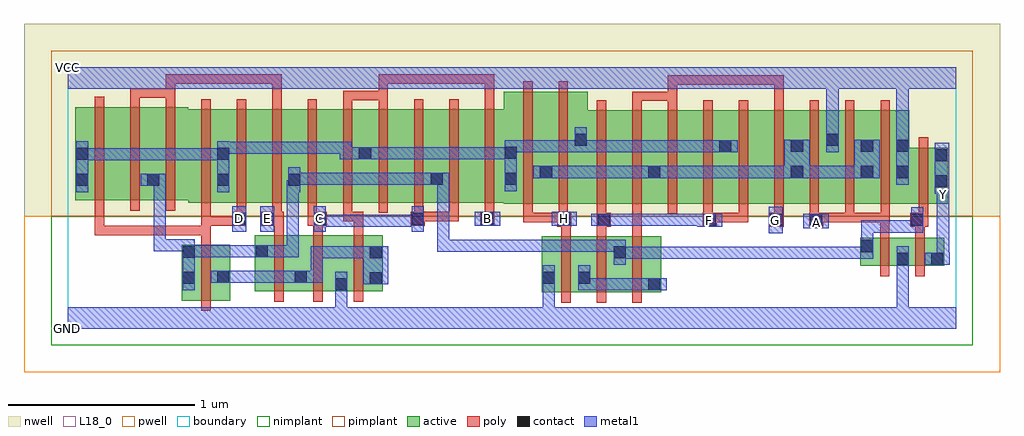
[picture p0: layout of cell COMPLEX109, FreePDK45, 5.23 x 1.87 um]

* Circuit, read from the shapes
.subckt COMPLEX109 A B C D E F G GND H VCC Y
M1 n1 D n2 VSUBS nfet w=0.3u l=0.05u
M2 n1 E n2 VSUBS nfet w=0.3u l=0.05u
M3 GND C n1 VSUBS nfet w=0.3u l=0.05u
M4 n1 B GND VSUBS nfet w=0.3u l=0.05u
M5 n3 H GND VSUBS nfet w=0.3u l=0.05u
M6 n2 F n3 VSUBS nfet w=0.3u l=0.05u
M7 n3 G n2 VSUBS nfet w=0.3u l=0.05u
M8 GND A n2 VSUBS nfet w=0.15u l=0.05u
M9 Y n2 GND VSUBS nfet w=0.15u l=0.05u
M10 n4 D n5 n6 pfet w=0.5u l=0.05u
M11 n2 E n4 n6 pfet w=0.5u l=0.05u
M12 n7 E n2 n6 pfet w=0.5u l=0.05u
M13 n5 D n7 n6 pfet w=0.5u l=0.05u
M14 n8 D n5 n6 pfet w=0.5u l=0.05u
M15 n2 E n8 n6 pfet w=0.5u l=0.05u
M16 n9 C n2 n6 pfet w=0.5u l=0.05u
M17 n5 B n9 n6 pfet w=0.5u l=0.05u
M18 n10 B n5 n6 pfet w=0.5u l=0.05u
M19 n2 C n10 n6 pfet w=0.5u l=0.05u
M20 n11 C n2 n6 pfet w=0.5u l=0.05u
M21 n5 B n11 n6 pfet w=0.5u l=0.05u
M22 n12 H n5 n6 pfet w=0.6u l=0.05u m=2
M23 n13 F n5 n6 pfet w=0.5u l=0.05u
M24 n12 G n13 n6 pfet w=0.5u l=0.05u
M25 n14 G n12 n6 pfet w=0.5u l=0.05u
M26 n5 F n14 n6 pfet w=0.5u l=0.05u
M27 n15 F n5 n6 pfet w=0.5u l=0.05u
M28 n12 G n15 n6 pfet w=0.5u l=0.05u
M29 VCC A n12 n6 pfet w=0.5u l=0.05u m=3
M30 Y n2 VCC n6 pfet w=0.3u l=0.05u
.ends

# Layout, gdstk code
import gdstk
lib = gdstk.Library(unit=1e-6, precision=1e-09)
def R(c, l, rs):  # rectangles x0, y0, x1, y1
    for r in rs: c.add(gdstk.rectangle(r[:2], r[2:], *l))
def A(c, l, x, y, w, h, nx, ny, dx, dy):  # array of equal rectangles
    R(c, l, [(x+i*dx, y+j*dy, x+i*dx+w, y+j*dy+h) for i in range(nx) for j in range(ny)])
active = (1, 0)
pwell = (2, 0)
nwell = (3, 0)
nimplant = (4, 0)
pimplant = (5, 0)
poly = (9, 0)
contact = (10, 0)
metal1 = (11, 0)
L18_0 = (18, 0)
boundary = (235, 0)

complex109 = lib.new_cell('COMPLEX109')
A(complex109, active, 0.645, 0.675, 0.225, 0.5, 3, 1, 0.38, 0)
A(complex109, active, 0.795, 0.675, 0.23, 0.5, 3, 1, 0.38, 0)
R(complex109, active, [(0.61,0.15,0.87,0.45), (2.54,0.195,2.805,0.495), (2.73,0.195,2.995,0.495), (2.92,0.195,3.18,0.495), (0.61,0.2,0.685,0.45), (0.795,0.2,0.87,0.45), (1.002,0.2,1.285,0.5), (1.21,0.2,1.285,0.392), (1.21,0.2,1.502,0.5), (1.427,0.2,1.687,0.5), (1.427,0.2,1.502,0.392), (1.612,0.2,1.687,0.5), (2.73,0.2,2.805,0.392), (3.105,0.2,3.18,0.495), (2.54,0.232,2.615,0.495), (1.002,0.247,1.077,0.5), (2.92,0.247,2.995,0.447), (4.247,0.337,4.512,0.487), (4.437,0.337,4.697,0.487), (4.437,0.337,4.512,0.412), (4.622,0.337,4.697,0.487), (4.247,0.397,4.322,0.487), (2.335,0.67,2.6,1.27), (2.525,0.67,2.6,1.07), (2.525,0.67,2.785,1.27), (2.71,0.67,2.955,1.17), (2.955,0.67,3.18,1.17), (3.105,0.67,3.335,1.17), (3.105,0.67,3.18,1.07), (3.335,0.67,3.56,1.17), (3.485,0.67,3.56,1.17), (3.485,0.67,3.715,1.17), (3.715,0.67,3.945,1.17), (3.87,0.67,4.135,1.17), (3.87,0.67,3.945,1.157), (4.06,0.67,4.135,1.17), (4.06,0.67,4.32,1.17), (4.245,0.67,4.51,1.17), (4.245,0.67,4.32,1.157), (4.435,0.67,4.715,0.97), (4.435,0.67,4.51,1.17), (4.64,0.67,4.715,0.97), (0.795,0.675,0.87,1.175), (1.175,0.675,1.25,1.07), (1.555,0.675,1.63,1.157), (1.785,0.675,2.015,1.175), (1.94,0.675,2.165,1.175), (1.94,0.675,2.015,1.07), (2.165,0.675,2.41,1.175), (2.335,0.675,2.41,1.2), (0.04,0.687,0.265,1.187), (0.04,0.687,0.115,1.157), (0.265,0.687,0.495,1.187), (0.42,0.687,0.645,1.187), (0.42,0.687,0.495,1.07), (2.71,0.722,2.785,1.2)])
R(complex109, pwell, [(-0.235,-0.235,4.995,0.602)])
R(complex109, nwell, [(-0.235,0.602,4.995,1.635)])
R(complex109, nimplant, [(-0.09,-0.09,4.85,0.602)])
R(complex109, pimplant, [(-0.09,0.602,4.85,1.49)])
A(complex109, poly, 2.645, 0.14, 0.05, 0.41, 3, 1, 0.19, 0)
A(complex109, poly, 3.405, 0.57, 0.05, 0.095, 6, 1, 0.19, 0)
A(complex109, poly, 0.905, 0.575, 0.05, 0.095, 4, 1, 0.19, 0)
A(complex109, poly, 1.855, 0.575, 0.05, 0.095, 3, 1, 0.19, 0)
A(complex109, poly, 2.835, 0.615, 0.05, 0.61, 9, 1, 0.19, 0)
A(complex109, poly, 0.715, 0.62, 0.05, 0.61, 9, 1, 0.19, 0)
A(complex109, poly, 0.145, 0.632, 0.05, 0.61, 3, 1, 0.19, 0)
R(complex109, poly, [(0.715,0.095,0.765,0.505), (1.107,0.145,1.157,0.555), (1.315,0.145,1.365,0.555), (1.532,0.145,1.582,0.555), (4.352,0.282,4.402,0.542), (4.542,0.282,4.592,0.542), (0.715,0.455,0.765,0.55), (4.352,0.492,4.402,0.62), (4.542,0.492,4.592,0.595), (0.145,0.5,0.195,0.55), (0.145,0.5,0.195,0.55), (0.145,0.5,0.195,0.55), (0.145,0.5,0.195,0.682), (0.145,0.5,0.427,0.55), (0.377,0.5,0.427,0.55), (0.377,0.5,0.427,0.55), (0.377,0.5,0.427,0.55), (0.377,0.5,0.56,0.55), (0.51,0.5,0.56,0.55), (0.51,0.5,0.56,0.55), (0.51,0.5,0.56,0.55), (0.51,0.5,0.765,0.55), (0.715,0.5,0.765,0.6), (2.645,0.5,2.695,0.595), (2.835,0.5,2.885,0.595), (3.025,0.5,3.075,0.62), (1.107,0.505,1.157,0.6), (1.315,0.505,1.365,0.6), (1.532,0.505,1.582,0.625), (2.622,0.545,2.697,0.62), (2.835,0.545,2.91,0.62), (3.402,0.545,3.477,0.62), (3.76,0.545,3.835,0.62), (3.972,0.545,4.047,0.62), (4.515,0.545,4.61,0.62), (0.715,0.55,0.93,0.6), (0.715,0.55,0.765,0.67), (0.88,0.55,0.93,0.6), (0.88,0.55,0.93,0.6), (0.88,0.55,0.955,0.625), (1.037,0.55,1.157,0.625), (1.285,0.55,1.387,0.625), (1.837,0.55,1.912,0.625), (2.21,0.55,2.285,0.625), (2.44,0.57,2.49,0.665), (2.44,0.57,2.49,0.62), (2.44,0.57,2.672,0.62), (2.622,0.57,2.672,0.62), (2.622,0.57,2.672,0.62), (2.63,0.57,2.68,0.665), (2.835,0.57,2.885,0.665), (3.025,0.57,3.075,0.665), (3.025,0.57,3.075,0.62), (3.427,0.57,3.645,0.62), (3.595,0.57,3.645,0.62), (3.595,0.57,3.645,0.62), (3.595,0.57,3.645,0.62), (3.997,0.57,4.047,0.62), (3.997,0.57,4.047,0.62), (3.997,0.57,4.215,0.62), (4.165,0.57,4.215,0.62), (4.165,0.57,4.402,0.62), (4.352,0.57,4.402,0.62), (4.352,0.57,4.402,0.62), (4.352,0.57,4.405,0.62), (4.56,0.57,4.61,0.665), (1.475,0.575,1.582,0.625), (1.862,0.575,2.095,0.625), (2.045,0.575,2.095,0.625), (2.045,0.575,2.095,0.625), (2.045,0.575,2.095,0.625), (2.44,0.615,2.49,1.325), (2.63,0.615,2.68,1.325), (4.56,0.615,4.61,1.025), (3.025,1.175,3.075,1.27), (3.215,1.175,3.265,1.27), (3.785,1.175,3.835,1.357), (1.095,1.18,1.145,1.362), (1.475,1.18,1.525,1.275), (1.665,1.18,1.715,1.275), (2.235,1.18,2.285,1.362), (0.335,1.192,0.385,1.287), (0.525,1.192,0.575,1.287), (3.025,1.22,3.075,1.27), (3.025,1.22,3.265,1.27), (3.215,1.22,3.265,1.27), (3.215,1.22,3.265,1.27), (3.215,1.22,3.265,1.357), (1.475,1.225,1.525,1.275), (1.475,1.225,1.525,1.275), (1.475,1.225,1.525,1.275), (1.475,1.225,1.715,1.275), (1.665,1.225,1.715,1.362), (0.335,1.237,0.385,1.287), (0.335,1.237,0.385,1.287), (0.335,1.237,0.385,1.287), (0.335,1.237,0.575,1.287), (0.525,1.237,0.575,1.362), (3.215,1.307,3.512,1.357), (3.462,1.307,3.512,1.357), (3.462,1.307,3.512,1.357), (3.462,1.307,3.512,1.357), (3.462,1.307,3.677,1.357), (3.627,1.307,3.677,1.357), (3.627,1.307,3.677,1.357), (3.627,1.307,3.677,1.357), (3.627,1.307,3.835,1.357), (3.785,1.307,3.835,1.357), (3.785,1.307,3.835,1.357), (3.785,1.307,3.835,1.357), (0.525,1.312,0.707,1.362), (0.657,1.312,0.707,1.362), (0.657,1.312,0.707,1.362), (0.657,1.312,0.707,1.362), (0.657,1.312,0.897,1.362), (0.847,1.312,0.897,1.362), (0.847,1.312,0.897,1.362), (0.847,1.312,0.897,1.362), (0.847,1.312,1.145,1.362), (1.095,1.312,1.145,1.362), (1.095,1.312,1.145,1.362), (1.095,1.312,1.145,1.362), (1.665,1.312,1.715,1.362), (1.665,1.312,1.715,1.362), (1.665,1.312,1.885,1.362), (1.835,1.312,1.885,1.362), (1.835,1.312,1.885,1.362), (1.835,1.312,1.885,1.362), (1.835,1.312,2.045,1.362), (1.995,1.312,2.045,1.362), (1.995,1.312,2.285,1.362), (2.235,1.312,2.285,1.362), (2.235,1.312,2.285,1.362), (2.235,1.312,2.285,1.362)])
R(complex109, contact, [(1.432,0.205,1.497,0.27), (3.11,0.205,3.175,0.27), (1.617,0.237,1.682,0.302), (0.615,0.24,0.68,0.305), (2.545,0.24,2.61,0.305), (2.735,0.24,2.8,0.305), (0.8,0.245,0.865,0.31), (1.215,0.245,1.28,0.31), (4.442,0.342,4.507,0.407), (4.627,0.342,4.692,0.407), (1.617,0.377,1.682,0.442), (2.925,0.377,2.99,0.442), (0.615,0.38,0.68,0.445), (1.007,0.382,1.072,0.447), (4.252,0.41,4.317,0.475), (2.627,0.55,2.692,0.615), (2.84,0.55,2.905,0.615), (3.407,0.55,3.472,0.615), (3.765,0.55,3.83,0.615), (3.977,0.55,4.042,0.615), (4.52,0.55,4.585,0.615), (0.885,0.555,0.95,0.62), (1.042,0.555,1.107,0.62), (1.317,0.555,1.382,0.62), (1.842,0.555,1.907,0.62), (2.215,0.555,2.28,0.62), (4.645,0.757,4.71,0.822), (0.045,0.765,0.11,0.83), (0.425,0.765,0.49,0.83), (0.8,0.765,0.865,0.83), (1.18,0.765,1.245,0.83), (1.945,0.77,2.01,0.835), (2.34,0.77,2.405,0.835), (2.53,0.807,2.595,0.872), (3.11,0.807,3.175,0.872), (3.875,0.807,3.94,0.872), (4.25,0.807,4.315,0.872), (4.44,0.807,4.505,0.872), (4.645,0.897,4.71,0.962), (0.045,0.905,0.11,0.97), (0.8,0.905,0.865,0.97), (1.56,0.907,1.625,0.972), (2.34,0.91,2.405,0.975), (3.49,0.945,3.555,1.01), (3.875,0.947,3.94,1.012), (4.25,0.947,4.315,1.012), (4.44,0.947,4.505,1.012), (2.715,0.98,2.78,1.045), (4.065,0.98,4.13,1.045)])
R(complex109, metal1, [(0,0,4.76,0.115), (1.432,0.05,1.497,0.115), (1.432,0.05,1.497,0.115), (1.432,0.05,1.497,0.235), (2.545,0.05,2.61,0.115), (2.545,0.05,2.61,0.115), (2.545,0.05,2.61,0.27), (4.442,0.05,4.507,0.115), (4.442,0.05,4.507,0.115), (4.442,0.05,4.507,0.372), (1.432,0.17,1.497,0.305), (0.615,0.205,0.68,0.48), (2.545,0.205,2.61,0.34), (2.735,0.205,2.8,0.27), (2.735,0.205,2.8,0.27), (2.735,0.205,2.8,0.34), (2.735,0.205,3.002,0.27), (2.937,0.205,3.002,0.27), (2.937,0.205,3.14,0.27), (3.075,0.205,3.14,0.27), (3.075,0.205,3.14,0.27), (3.075,0.205,3.21,0.27), (1.582,0.237,1.717,0.442), (0.765,0.245,0.9,0.31), (0.835,0.245,0.9,0.31), (0.835,0.245,0.9,0.31), (0.835,0.245,1.1,0.31), (1.035,0.245,1.1,0.31), (1.035,0.245,1.1,0.31), (1.035,0.245,1.1,0.31), (1.035,0.245,1.245,0.31), (1.18,0.245,1.315,0.31), (1.25,0.245,1.367,0.31), (1.302,0.245,1.367,0.442), (4.442,0.307,4.507,0.372), (4.442,0.307,4.507,0.372), (4.442,0.307,4.507,0.442), (2.925,0.342,2.99,0.477), (4.592,0.342,4.727,0.407), (4.657,0.342,4.722,0.717), (2.925,0.375,3.14,0.44), (3.075,0.375,3.14,0.44), (3.075,0.375,3.14,0.44), (3.075,0.375,3.14,0.44), (3.075,0.375,3.3,0.44), (3.235,0.375,3.3,0.44), (3.235,0.375,3.382,0.44), (3.317,0.375,3.382,0.44), (3.317,0.375,3.437,0.44), (3.372,0.375,3.437,0.44), (3.372,0.375,3.575,0.44), (3.51,0.375,3.575,0.44), (3.51,0.375,3.575,0.44), (3.51,0.375,3.575,0.44), (3.51,0.375,3.72,0.44), (3.655,0.375,3.72,0.44), (3.655,0.375,3.72,0.44), (3.655,0.375,3.72,0.44), (3.655,0.375,3.992,0.44), (3.927,0.375,3.992,0.44), (3.927,0.375,3.992,0.44), (3.927,0.375,3.992,0.44), (3.927,0.375,4.142,0.44), (4.077,0.375,4.142,0.44), (4.077,0.375,4.142,0.44), (4.077,0.375,4.142,0.44), (4.077,0.375,4.317,0.44), (4.252,0.375,4.317,0.51), (1.302,0.377,1.452,0.442), (1.387,0.377,1.452,0.442), (1.387,0.377,1.522,0.442), (1.457,0.377,1.522,0.442), (1.457,0.377,1.647,0.442), (0.615,0.382,0.68,0.447), (0.615,0.382,0.68,0.447), (0.615,0.382,0.817,0.447), (0.752,0.382,0.817,0.447), (0.752,0.382,0.817,0.447), (0.752,0.382,0.817,0.447), (0.752,0.382,1.037,0.447), (0.972,0.382,1.107,0.447), (1.042,0.382,1.107,0.447), (1.042,0.382,1.107,0.447), (1.042,0.382,1.237,0.447), (1.172,0.382,1.237,0.447), (1.172,0.382,1.237,0.795), (1.98,0.412,2.045,0.477), (1.98,0.412,2.045,0.477), (1.98,0.412,2.045,0.477), (1.98,0.412,2.182,0.477), (1.98,0.412,2.045,0.835), (2.117,0.412,2.182,0.477), (2.117,0.412,2.182,0.477), (2.117,0.412,2.182,0.477), (2.117,0.412,2.405,0.477), (2.34,0.412,2.405,0.477), (2.34,0.412,2.405,0.477), (2.34,0.412,2.405,0.477), (2.34,0.412,2.542,0.477), (2.477,0.412,2.542,0.477), (2.477,0.412,2.542,0.477), (2.477,0.412,2.542,0.477), (2.477,0.412,2.802,0.477), (2.737,0.412,2.802,0.477), (2.737,0.412,2.99,0.477), (2.925,0.412,2.99,0.477), (2.925,0.412,2.99,0.477), (0.46,0.415,0.525,0.48), (0.46,0.415,0.525,0.48), (0.46,0.415,0.525,0.48), (0.46,0.415,0.525,0.48), (0.46,0.415,0.525,0.48), (0.46,0.415,0.68,0.48), (0.46,0.415,0.525,0.83), (4.252,0.445,4.317,0.51), (4.252,0.445,4.317,0.58), (3.755,0.512,3.83,0.652), (4.252,0.515,4.455,0.58), (4.39,0.515,4.455,0.58), (4.39,0.515,4.455,0.58), (4.39,0.515,4.455,0.58), (4.39,0.515,4.585,0.58), (4.52,0.515,4.585,0.65), (0.88,0.52,0.957,0.657), (1.03,0.52,1.107,0.657), (1.317,0.52,1.382,0.657), (1.842,0.52,1.907,0.655), (3.942,0.537,4.077,0.615), (1.317,0.545,1.452,0.61), (1.387,0.545,1.452,0.61), (1.387,0.545,1.522,0.61), (1.457,0.545,1.522,0.61), (1.457,0.545,1.66,0.61), (1.595,0.545,1.66,0.61), (1.595,0.545,1.66,0.61), (1.595,0.545,1.66,0.61), (1.595,0.545,1.825,0.61), (1.76,0.545,1.825,0.61), (1.76,0.545,1.907,0.61), (3.372,0.547,3.507,0.615), (2.18,0.55,2.317,0.627), (2.592,0.55,2.727,0.627), (2.805,0.55,2.94,0.615), (2.875,0.55,2.94,0.615), (2.875,0.55,2.94,0.615), (2.875,0.55,3.162,0.615), (3.097,0.55,3.162,0.615), (3.097,0.55,3.162,0.615), (3.097,0.55,3.162,0.615), (3.097,0.55,3.3,0.615), (3.235,0.55,3.3,0.615), (3.235,0.55,3.382,0.615), (3.317,0.55,3.382,0.615), (3.317,0.55,3.437,0.615), (4.657,0.652,4.722,0.787), (4.645,0.722,4.722,0.997), (4.657,0.722,4.722,0.787), (0.045,0.73,0.11,1.005), (0.8,0.73,0.865,1.005), (1.172,0.73,1.245,0.795), (1.18,0.73,1.245,0.795), (1.18,0.73,1.245,0.865), (2.34,0.735,2.405,1.01), (0.39,0.765,0.525,0.83), (1.18,0.77,1.245,0.835), (1.18,0.77,1.245,0.835), (1.18,0.77,1.452,0.835), (1.387,0.77,1.452,0.835), (1.387,0.77,1.522,0.835), (1.457,0.77,1.522,0.835), (1.457,0.77,1.66,0.835), (1.595,0.77,1.66,0.835), (1.595,0.77,1.66,0.835), (1.595,0.77,1.66,0.835), (1.595,0.77,1.837,0.835), (1.772,0.77,1.837,0.835), (1.772,0.77,1.837,0.835), (1.772,0.77,1.837,0.835), (1.772,0.77,1.975,0.835), (1.91,0.77,2.045,0.835), (1.98,0.77,2.045,0.835), (1.98,0.77,2.045,0.835), (4.44,0.772,4.505,1.047), (2.495,0.807,2.63,0.872), (2.565,0.807,2.63,0.872), (2.565,0.807,2.63,0.872), (2.565,0.807,2.767,0.872), (2.702,0.807,2.767,0.872), (2.702,0.807,3.002,0.872), (2.937,0.807,3.002,0.872), (2.937,0.807,3.002,0.872), (2.937,0.807,3.002,0.872), (2.937,0.807,3.14,0.872), (3.075,0.807,3.14,0.872), (3.075,0.807,3.14,0.872), (3.075,0.807,3.21,0.872), (3.145,0.807,3.3,0.872), (3.235,0.807,3.3,0.872), (3.235,0.807,3.347,0.872), (3.282,0.807,3.347,0.872), (3.282,0.807,3.437,0.872), (3.372,0.807,3.437,0.872), (3.372,0.807,3.575,0.872), (3.51,0.807,3.575,0.872), (3.51,0.807,3.575,0.872), (3.51,0.807,3.575,0.872), (3.51,0.807,3.712,0.872), (3.647,0.807,3.712,0.872), (3.647,0.807,3.712,0.872), (3.647,0.807,3.712,0.872), (3.647,0.807,3.905,0.872), (3.84,0.807,3.975,1.012), (3.91,0.807,3.975,0.872), (3.91,0.807,3.975,0.872), (3.91,0.807,4.142,0.872), (4.077,0.807,4.142,0.872), (4.077,0.807,4.142,0.872), (4.077,0.807,4.142,0.872), (4.077,0.807,4.28,0.872), (4.215,0.807,4.35,1.012), (0.045,0.902,0.11,0.967), (0.045,0.902,0.11,0.967), (0.045,0.902,0.317,0.967), (0.252,0.902,0.317,0.967), (0.252,0.902,0.317,0.967), (0.252,0.902,0.317,0.967), (0.252,0.902,0.455,0.967), (0.39,0.902,0.455,0.967), (0.39,0.902,0.455,0.967), (0.39,0.902,0.455,0.967), (0.39,0.902,0.662,0.967), (0.597,0.902,0.662,0.967), (0.597,0.902,0.662,0.967), (0.597,0.902,0.662,0.967), (0.597,0.902,0.865,0.967), (1.457,0.907,1.59,0.972), (1.457,0.907,1.522,1.002), (1.525,0.907,1.66,0.972), (1.595,0.907,1.66,0.972), (1.595,0.907,1.66,0.972), (1.595,0.907,1.797,0.972), (1.732,0.907,1.797,0.972), (1.732,0.907,1.797,0.972), (1.732,0.907,1.797,0.972), (1.732,0.907,2.045,0.972), (1.98,0.907,2.045,0.972), (1.98,0.907,2.045,0.972), (1.98,0.907,2.045,0.972), (1.98,0.907,2.267,0.972), (2.202,0.907,2.267,0.972), (2.202,0.907,2.267,0.972), (2.202,0.907,2.267,0.972), (2.202,0.907,2.405,0.972), (0.8,0.937,0.865,1.002), (0.8,0.937,0.865,1.002), (0.8,0.937,1.1,1.002), (1.035,0.937,1.1,1.002), (1.035,0.937,1.1,1.002), (1.035,0.937,1.1,1.002), (1.035,0.937,1.245,1.002), (1.18,0.937,1.245,1.002), (1.18,0.937,1.245,1.002), (1.18,0.937,1.245,1.002), (1.18,0.937,1.452,1.002), (1.387,0.937,1.452,1.002), (1.387,0.937,1.522,1.002), (2.34,0.945,2.405,1.01), (2.34,0.945,2.405,1.01), (2.34,0.945,2.63,1.01), (2.565,0.945,2.63,1.01), (2.565,0.945,2.63,1.01), (2.565,0.945,2.63,1.01), (2.565,0.945,2.78,1.01), (2.715,0.945,2.78,1.08), (2.715,0.945,2.94,1.01), (2.875,0.945,2.94,1.01), (2.875,0.945,2.94,1.01), (2.875,0.945,2.94,1.01), (2.875,0.945,3.162,1.01), (3.097,0.945,3.162,1.01), (3.097,0.945,3.162,1.01), (3.097,0.945,3.162,1.01), (3.097,0.945,3.3,1.01), (3.235,0.945,3.3,1.01), (3.235,0.945,3.347,1.01), (3.282,0.945,3.347,1.01), (3.282,0.945,3.437,1.01), (3.372,0.945,3.437,1.01), (3.372,0.945,3.52,1.01), (3.455,0.945,3.59,1.01), (4.065,0.945,4.13,1.08), (4.44,0.982,4.505,1.35), (4.065,1.015,4.13,1.08), (4.065,1.015,4.13,1.08), (4.065,1.015,4.13,1.35), (0,1.285,4.76,1.4), (4.44,1.285,4.505,1.35), (4.44,1.285,4.505,1.35)])
R(complex109, L18_0, [(0,0,4.76,0.115), (1.432,0.05,1.497,0.115), (1.432,0.05,1.497,0.115), (1.432,0.05,1.497,0.235), (2.545,0.05,2.61,0.115), (2.545,0.05,2.61,0.115), (2.545,0.05,2.61,0.27), (4.442,0.05,4.507,0.115), (4.442,0.05,4.507,0.115), (4.442,0.05,4.507,0.372), (1.432,0.17,1.497,0.305), (2.545,0.205,2.61,0.34), (4.442,0.307,4.507,0.372), (4.442,0.307,4.507,0.372), (4.442,0.307,4.507,0.442), (4.592,0.342,4.727,0.407), (4.657,0.342,4.722,0.717), (3.755,0.512,3.83,0.652), (0.88,0.52,0.957,0.657), (1.03,0.52,1.107,0.657), (1.317,0.52,1.382,0.657), (1.842,0.52,1.907,0.655), (3.942,0.537,4.077,0.615), (3.977,0.537,4.042,0.602), (1.317,0.545,1.452,0.61), (1.387,0.545,1.452,0.61), (1.387,0.545,1.522,0.61), (1.457,0.545,1.522,0.61), (1.457,0.545,1.66,0.61), (1.595,0.545,1.66,0.61), (1.595,0.545,1.66,0.61), (1.595,0.545,1.66,0.61), (1.595,0.545,1.825,0.61), (1.76,0.545,1.825,0.61), (1.76,0.545,1.907,0.61), (3.372,0.547,3.507,0.615), (3.407,0.547,3.472,0.612), (3.757,0.547,3.822,0.612), (2.18,0.55,2.317,0.627), (2.592,0.55,2.727,0.627), (2.805,0.55,2.94,0.615), (2.875,0.55,2.94,0.615), (2.875,0.55,2.94,0.615), (2.875,0.55,3.162,0.615), (3.097,0.55,3.162,0.615), (3.097,0.55,3.162,0.615), (3.097,0.55,3.162,0.615), (3.097,0.55,3.3,0.615), (3.235,0.55,3.3,0.615), (3.235,0.55,3.382,0.615), (3.317,0.55,3.382,0.615), (3.317,0.55,3.437,0.615), (0.887,0.557,0.952,0.622), (1.037,0.557,1.102,0.622), (1.317,0.557,1.382,0.622), (2.217,0.557,2.282,0.622), (2.627,0.557,2.692,0.622), (4.657,0.652,4.722,0.787), (4.657,0.687,4.722,0.752), (4.645,0.722,4.722,0.997), (4.657,0.722,4.722,0.787), (4.44,0.772,4.505,1.047), (4.065,0.945,4.13,1.08), (4.44,0.982,4.505,1.35), (4.065,1.015,4.13,1.08), (4.065,1.015,4.13,1.08), (4.065,1.015,4.13,1.35), (0,1.285,4.76,1.4), (4.44,1.285,4.505,1.35), (4.44,1.285,4.505,1.35)])
R(complex109, boundary, [(0,0,4.76,1.4)])
complex109.add(gdstk.Label('A', (4.01,0.57), layer=11, texttype=0))
complex109.add(gdstk.Label('B', (2.25,0.59), layer=11, texttype=0))
complex109.add(gdstk.Label('C', (1.35,0.59), layer=11, texttype=0))
complex109.add(gdstk.Label('D', (0.92,0.59), layer=11, texttype=0))
complex109.add(gdstk.Label('E', (1.07,0.59), layer=11, texttype=0))
complex109.add(gdstk.Label('F', (3.44,0.58), layer=11, texttype=0))
complex109.add(gdstk.Label('G', (3.79,0.58), layer=11, texttype=0))
complex109.add(gdstk.Label('H', (2.66,0.59), layer=11, texttype=0))
complex109.add(gdstk.Label('Y', (4.69,0.72), layer=11, texttype=0))
complex109.add(gdstk.Label('VCC', (0,1.4), layer=11, texttype=0))
complex109.add(gdstk.Label('GND', (0,0), layer=11, texttype=0))

lib.write_gds('COMPLEX109.gds')
